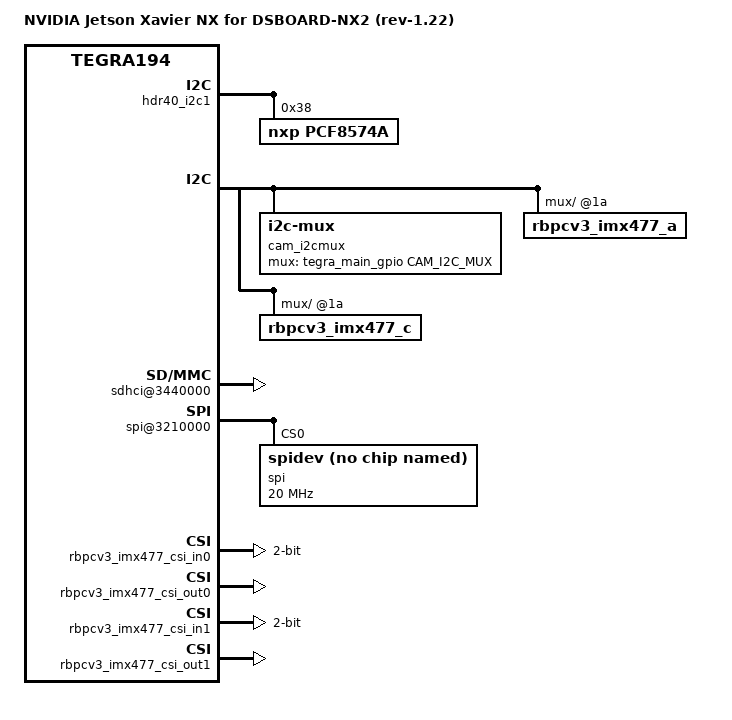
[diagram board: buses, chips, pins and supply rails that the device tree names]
/*
 * Top level DTS file for CVM:P3668-0001 and CVB:DSBOARD-NX2.
 *
 * Copyright (c) 2020-2021, Mist Elektronik Biyomedikal Ltd. Şti.  All rights reserved.
 *
 * This program is free software; you can redistribute it and/or modify
 * it under the terms of the GNU General Public License as published by
 * the Free Software Foundation; version 2 of the License.
 *
 * This program is distributed in the hope that it will be useful, but WITHOUT
 * ANY WARRANTY; without even the implied warranty of MERCHANTABILITY or
 * FITNESS FOR A PARTICULAR PURPOSE.  See the GNU General Public License for
 * more details.
 */

/dts-v1/;
#include "common/tegra194-p3668-common.dtsi"
#include "common/tegra194-p3509-0000-a00.dtsi"

#undef CAM_I2C_MUX
#define CAM_I2C_MUX 	TEGRA194_MAIN_GPIO(Q, 6)

/ {
	nvidia,dtsfilename = __FILE__;
	nvidia,dtbbuildtime = __DATE__, __TIME__;
	model = "NVIDIA Jetson Xavier NX for DSBOARD-NX2 (rev-1.22)";

	compatible = "nvidia,p3449-0000+p3668-0000", "nvidia,p3449-0000+p3668-0001", "nvidia,p3509-0000+p3668-0000", "nvidia,p3509-0000+p3668-0001", "nvidia,tegra194";

	hdr40_i2c1: i2c@31e0000 {
		pcf8574a: gpio@38 {
			compatible = "nxp,pcf8574a";
			reg = <0x38>;
			//interrupt-parent = <&irqpin2>;
			//interrupts = <3 0>;
			gpio-controller;
			#gpio-cells = <2>;
			//interrupt-controller;
			//#interrupt-cells = <2>;
		};
	};

	pcie@141a0000{
		nvidia,max-speed = <2>;
	};

	cam_i2cmux{
		mux-gpios = <&tegra_main_gpio CAM_I2C_MUX GPIO_ACTIVE_HIGH>;
	};

	sdhci@3440000 {
		nvidia,vmmc-always-on;
		disable-wp;
		status = "okay";
	};

	gpio@c2f0000 {
		w-disable1 {
			gpio-hog;
			output-high;
			gpios = <TEGRA194_AON_GPIO(CC, 2) GPIO_ACTIVE_LOW>;
			label = "w-disable1";
			status = "disabled";
		};
	};

	spi@3210000{
		status = "okay";
		nvidia,clock-always-on;
		spi@0 {
			status = "okay";
			compatible = "spidev";
			reg = <0x0>;
			spi-max-frequency = <20000000>;
			nvidia,enable-hw-based-cs;
			nvidia,enable-hw-based-cs;
			nvidia,cs-setup-clk-count = <0x1e>;
			nvidia,cs-hold-clk-count = <0x1e>;
			nvidia,rx-clk-tap-delay = <0x1f>;
			nvidia,tx-clk-tap-delay = <0x0>;
		};
	};

	/* IMX477 dual sensor module begin */
	cam_i2cmux {
		i2c@0 {
			rbpcv3_imx477_a@1a {
				status = "okay";
			};
			rbpcv2_imx219_a@10 {
                        	status = "disabled";
			};
		};
		i2c@1 {
			rbpcv3_imx477_c@1a {
				status = "okay";
			};
			rbpcv2_imx219_c@10 {
                        	status = "disabled";
			};
		};
	};

	tegra-camera-platform {
		modules {
			module0 {
				status = "okay";
				badge = "jakku_front_RBPCV3";
				position = "front";
				orientation = "1";

				drivernode0 {
					status = "okay";
					pcl_id = "v4l2_sensor";
					devname = "imx477 9-001a";
					proc-device-tree = "/proc/device-tree/cam_i2cmux/i2c@0/rbpcv3_imx477_a@1a";
				};
			};
			module1 {
				status = "okay";
				badge = "jakku_rear_RBPCV3";
				position = "rear";
				orientation = "1";

				drivernode0 {
					status = "okay";
					pcl_id = "v4l2_sensor";
					devname = "imx477 10-001a";
					proc-device-tree = "/proc/device-tree/cam_i2cmux/i2c@1/rbpcv3_imx477_c@1a";
				};
			};
		};
	};

	host1x {
		vi@15c10000 {
			ports {
				port@0 {
					rbpcv3_imx477_vi_in0: endpoint {
						status = "okay";
						port-index = <0>;
						bus-width = <2>;
						remote-endpoint = <&rbpcv3_imx477_csi_out0>;
					};
				};
				port@1 {
					rbpcv3_imx477_vi_in1: endpoint {
						status = "okay";
						port-index = <2>;
						bus-width = <2>;
						remote-endpoint = <&rbpcv3_imx477_csi_out1>;
					};
				};
			};
		};

		nvcsi@15a00000 {
			channel@0 {
				ports {
					port@0 {
						rbpcv3_imx477_csi_in0: endpoint@0 {
							status = "okay";
							port-index = <0>;
							bus-width = <2>;
							remote-endpoint = <&rbpcv3_imx477_dual_out0>;
						};
					};
					port@1 {
						rbpcv3_imx477_csi_out0: endpoint@1 {
							status = "okay";
						};
					};
				};
			};
			channel@1 {
				ports {
					port@2 {
						rbpcv3_imx477_csi_in1: endpoint@2 {
							status = "okay";
							port-index = <2>;
							bus-width = <2>;
							remote-endpoint = <&rbpcv3_imx477_out1>;
						};
					};
					port@3 {
						rbpcv3_imx477_csi_out1: endpoint@3 {
							status = "okay";
						};
					};
				};
			};
		};
	};
	/* IMX477 dual sensor module end */

};

